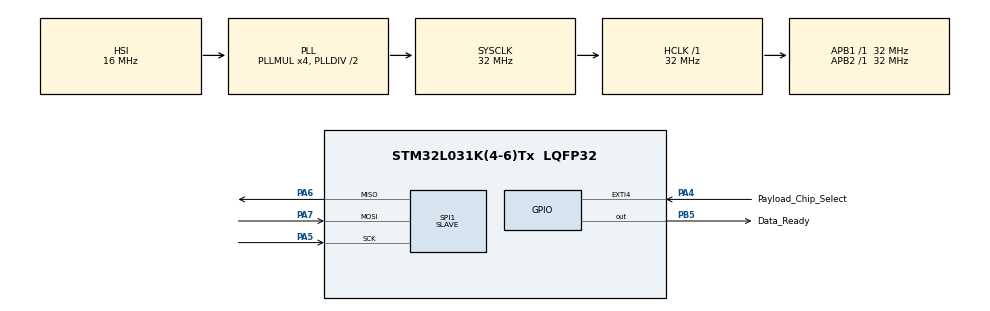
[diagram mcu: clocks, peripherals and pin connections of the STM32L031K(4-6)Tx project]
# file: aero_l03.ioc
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Mcu.Family=STM32L0
Mcu.Name=STM32L031K(4-6)Tx
Mcu.Package=LQFP32
NVIC.EXTI4_15_IRQn=true\:2\:0\:true\:false\:true\:true\:true\:true
NVIC.SPI1_IRQn=true\:2\:0\:true\:false\:true\:true\:true\:true
PA4.GPIO_Label=Payload_Chip_Select
PA4.Signal=GPXTI4
PA5.Mode=Full_Duplex_Slave
PA5.Signal=SPI1_SCK
PA6.Mode=Full_Duplex_Slave
PA6.Signal=SPI1_MISO
PA7.Mode=Full_Duplex_Slave
PA7.Signal=SPI1_MOSI
PB5.GPIO_Label=Data_Ready
PB5.GPIO_PuPd=GPIO_PULLDOWN
PB5.Signal=GPIO_Output
ProjectManager.HeapSize=0x200
ProjectManager.StackSize=0x400
ProjectManager.TargetToolchain=STM32CubeIDE
RCC.AHBFreq_Value=32000000
RCC.APB1Freq_Value=32000000
RCC.APB1TimFreq_Value=32000000
RCC.APB2Freq_Value=32000000
RCC.APB2TimFreq_Value=32000000
RCC.HCLKFreq_Value=32000000
RCC.HSE_VALUE=8000000
RCC.HSI16_VALUE=16000000
RCC.HSI_VALUE=16000000
RCC.LSE_VALUE=32768
RCC.MSI_VALUE=2097000
RCC.PLLMUL=RCC_PLLMUL_4
RCC.SYSCLKFreq_VALUE=32000000
RCC.SYSCLKSource=RCC_SYSCLKSOURCE_PLLCLK
RCC.VCOOutputFreq_Value=64000000
SPI1.CLKPhase=SPI_PHASE_1EDGE
SPI1.CLKPolarity=SPI_POLARITY_LOW
SPI1.Direction=SPI_DIRECTION_2LINES
SPI1.Mode=SPI_MODE_SLAVE
SPI1.VirtualType=VM_SLAVE
board=custom

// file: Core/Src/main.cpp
/* USER CODE BEGIN Header */
/**
 ******************************************************************************
 * @file           : main.c
 * @brief          : Main program body
 ******************************************************************************
 * @attention
 *
 * Copyright (c) 2023 STMicroelectronics.
 * All rights reserved.
 *
 * This software is licensed under terms that can be found in the LICENSE file
 * in the root directory of this software component.
 * If no LICENSE file comes with this software, it is provided AS-IS.
 *
 ******************************************************************************
 */
/* USER CODE END Header */
#include "main.h"

#include <stdlib.h>

 #include "external_libraries/ArduinoJson-v6.21.3.h"
#include "abstraction_layer/gpio/public/emulator_liason_gpi.h"
#include "abstraction_layer/gpio/public/emulator_liason_gpo.h"
#include "abstraction_layer/inc/serial_impl.h"
#include "emulator_liason/public/emulator_liason.h"

SPI_HandleTypeDef hspi1;

/* USER CODE BEGIN PV */
bsf::hal::gpio::Gpo<bsf::hal::gpio::GpoPin::kPayloadReady> gpo_payload_ready;
bsf::hal::gpio::Gpi<bsf::hal::gpio::GpiPin::kPayloadChipSelect>
    gpi_payload_chip_select;
binarx_serial_impl::SpiImpl spi_controller = binarx_serial_impl::SpiImpl();
binarx::emulator_liason::EmulatorLiason emulator_liason =
    binarx::emulator_liason::EmulatorLiason(spi_controller, gpo_payload_ready);

 extern "C" void HAL_GPIO_EXTI_Callback(uint16_t GPIO_Pin) {
   switch (GPIO_Pin) {
     case Payload_Chip_Select_Pin:
       emulator_liason.ChipSelectInterrupt();
       break;
     default:
       break;
   }
 }

extern "C" void HAL_SPI_TxCpltCallback(SPI_HandleTypeDef *hspi) {
  emulator_liason.TransmitCallBackInterrupt();
}

/* USER CODE END PV */

void SystemClock_Config(void);
static void MX_GPIO_Init(void);
static void MX_SPI1_Init(void);

int main(void) {

  /* MCU Configuration--------------------------------------------------------*/

  /* Reset of all peripherals, Initializes the Flash interface and the Systick.
   */
  HAL_Init();

  /* Configure the system clock */
  SystemClock_Config();

  /* Initialize all configured peripherals */
  MX_GPIO_Init();
  MX_SPI1_Init();
  /* USER CODE BEGIN 2 */

  int kMaxDelayTime = 200;  // miliseconds
  srand((unsigned)HAL_GetTick());

      StaticJsonDocument<1000> doc;

      // Add values in the document
      doc["sensor"] = "Test";
      doc["time"] = 0;
      doc["memory_doc"] = doc.memoryUsage();
      doc["memory_buffer"] = 0;

      //
      //
      int extra_numbers = 10;

      JsonArray data = doc.createNestedArray("data");
      for (int i = 0; i < extra_numbers; i++) {
        if (!data.add(doc.memoryUsage())) {
          data[0] = i;
          break;
        }
      }

  std::array<uint8_t, 1000> buffer;

  /* USER CODE END 2 */

  /* Infinite loop */
  /* USER CODE BEGIN WHILE */
  while (1) {
    // Test different delays to make sure the emulator can handle it
                  int random_number = rand() % kMaxDelayTime;
                  doc["time"] = random_number;
                  doc["memory_doc"] = doc.memoryUsage();
                  HAL_Delay(random_number);

                  // Data size as defined by emulator largest packet size (+ 1 to add the
                  // null terminator byte)
    uint16_t kDataSize = static_cast<uint16_t>(measureJsonPretty(doc) + 1);

                            doc["memory_buffer"] = kDataSize;

serializeJsonPretty(doc, (char *)buffer.data(), kDataSize);

    // To transmit the data we need to call this function

    emulator_liason.Transmit(buffer.data(), kDataSize);

    /* USER CODE END WHILE */

  }
}

void SystemClock_Config(void) {
  RCC_OscInitTypeDef RCC_OscInitStruct = {0};
  RCC_ClkInitTypeDef RCC_ClkInitStruct = {0};

  /** Configure the main internal regulator output voltage
   */
  __HAL_PWR_VOLTAGESCALING_CONFIG(PWR_REGULATOR_VOLTAGE_SCALE1);

  /** Initializes the RCC Oscillators according to the specified parameters
   * in the RCC_OscInitTypeDef structure.
   */
  RCC_OscInitStruct.OscillatorType = RCC_OSCILLATORTYPE_HSI;
  RCC_OscInitStruct.HSIState = RCC_HSI_ON;
  RCC_OscInitStruct.HSICalibrationValue = RCC_HSICALIBRATION_DEFAULT;
  RCC_OscInitStruct.PLL.PLLState = RCC_PLL_ON;
  RCC_OscInitStruct.PLL.PLLSource = RCC_PLLSOURCE_HSI;
  RCC_OscInitStruct.PLL.PLLMUL = RCC_PLLMUL_4;
  RCC_OscInitStruct.PLL.PLLDIV = RCC_PLLDIV_2;
  if (HAL_RCC_OscConfig(&RCC_OscInitStruct) != HAL_OK) {
    Error_Handler();
  }

  /** Initializes the CPU, AHB and APB buses clocks
   */
  RCC_ClkInitStruct.ClockType = RCC_CLOCKTYPE_HCLK | RCC_CLOCKTYPE_SYSCLK |
                                RCC_CLOCKTYPE_PCLK1 | RCC_CLOCKTYPE_PCLK2;
  RCC_ClkInitStruct.SYSCLKSource = RCC_SYSCLKSOURCE_PLLCLK;
  RCC_ClkInitStruct.AHBCLKDivider = RCC_SYSCLK_DIV1;
  RCC_ClkInitStruct.APB1CLKDivider = RCC_HCLK_DIV1;
  RCC_ClkInitStruct.APB2CLKDivider = RCC_HCLK_DIV1;

  if (HAL_RCC_ClockConfig(&RCC_ClkInitStruct, FLASH_LATENCY_1) != HAL_OK) {
    Error_Handler();
  }
}

static void MX_SPI1_Init(void) {

  /* SPI1 parameter configuration*/
  hspi1.Instance = SPI1;
  hspi1.Init.Mode = SPI_MODE_SLAVE;
  hspi1.Init.Direction = SPI_DIRECTION_2LINES;
  hspi1.Init.DataSize = SPI_DATASIZE_8BIT;
  hspi1.Init.CLKPolarity = SPI_POLARITY_LOW;
  hspi1.Init.CLKPhase = SPI_PHASE_1EDGE;
  hspi1.Init.NSS = SPI_NSS_SOFT;
  hspi1.Init.FirstBit = SPI_FIRSTBIT_MSB;
  hspi1.Init.TIMode = SPI_TIMODE_DISABLE;
  hspi1.Init.CRCCalculation = SPI_CRCCALCULATION_DISABLE;
  hspi1.Init.CRCPolynomial = 7;
  if (HAL_SPI_Init(&hspi1) != HAL_OK) {
    Error_Handler();
  }
}

static void MX_GPIO_Init(void) {
  GPIO_InitTypeDef GPIO_InitStruct = {0};

  /* GPIO Ports Clock Enable */
  __HAL_RCC_GPIOA_CLK_ENABLE();
  __HAL_RCC_GPIOB_CLK_ENABLE();

  /*Configure GPIO pin Output Level */
  HAL_GPIO_WritePin(Data_Ready_GPIO_Port, Data_Ready_Pin, GPIO_PIN_RESET);

  /*Configure GPIO pin : Payload_Chip_Select_Pin */
  GPIO_InitStruct.Pin = Payload_Chip_Select_Pin;
  GPIO_InitStruct.Mode = GPIO_MODE_IT_RISING;
  GPIO_InitStruct.Pull = GPIO_NOPULL;
  HAL_GPIO_Init(Payload_Chip_Select_GPIO_Port, &GPIO_InitStruct);

  /*Configure GPIO pin : Data_Ready_Pin */
  GPIO_InitStruct.Pin = Data_Ready_Pin;
  GPIO_InitStruct.Mode = GPIO_MODE_OUTPUT_PP;
  GPIO_InitStruct.Pull = GPIO_PULLDOWN;
  GPIO_InitStruct.Speed = GPIO_SPEED_FREQ_LOW;
  HAL_GPIO_Init(Data_Ready_GPIO_Port, &GPIO_InitStruct);

  /* EXTI interrupt init*/
  HAL_NVIC_SetPriority(EXTI4_15_IRQn, 2, 0);
  HAL_NVIC_EnableIRQ(EXTI4_15_IRQn);

}

void Error_Handler(void) {
  __disable_irq();
  while (1) {
  }
}

#ifdef USE_FULL_ASSERT
/**
 * @brief  Reports the name of the source file and the source line number
 *         where the assert_param error has occurred.
 * @param  file: pointer to the source file name
 * @param  line: assert_param error line source number
 * @retval None
 */
void assert_failed(uint8_t *file, uint32_t line) {
  /* USER CODE BEGIN 6 */
  /* User can add his own implementation to report the file name and line
     number, ex: printf("Wrong parameters value: file %s on line %d\r\n", file,
     line) */
  /* USER CODE END 6 */
}
#endif /* USE_FULL_ASSERT */
